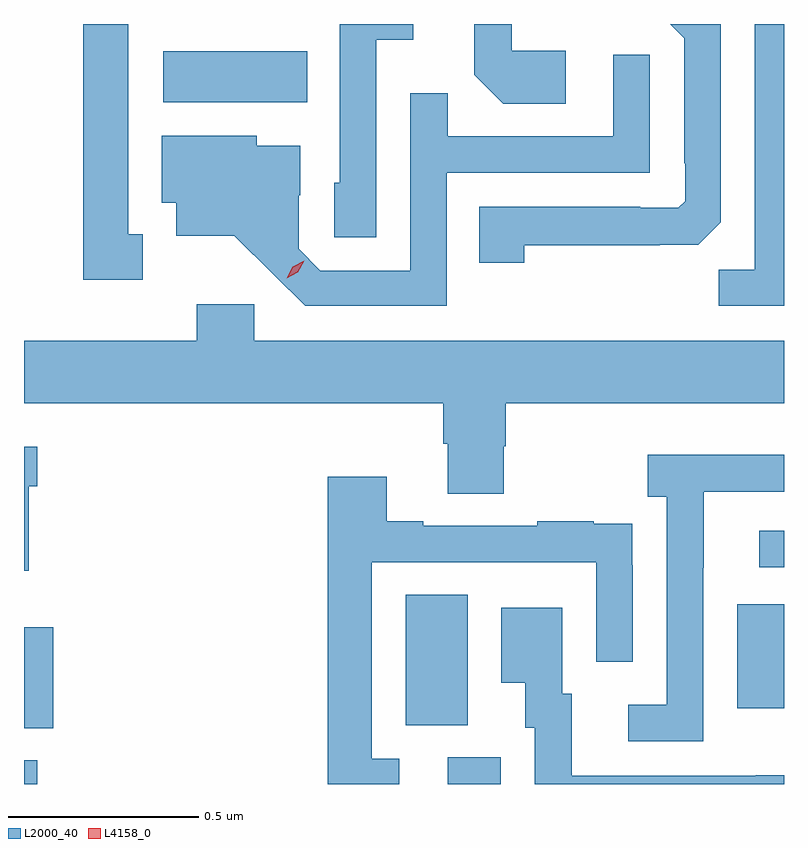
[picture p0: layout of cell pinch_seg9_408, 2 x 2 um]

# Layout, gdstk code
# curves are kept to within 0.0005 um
import gdstk
lib = gdstk.Library(unit=1e-6, precision=1e-09)
def R(c, l, rs):  # rectangles x0, y0, x1, y1
    for r in rs: c.add(gdstk.rectangle(r[:2], r[2:], *l))
def P(c, l, *ps):  # polygons
    for p in ps: c.add(gdstk.Polygon(p, *l))
L2000_40 = (2000, 40)
L4158_0 = (4158, 0)

pinch_seg9_408 = lib.new_cell('pinch_seg9_408')
R(pinch_seg9_408, L2000_40, [(322.158,1232.714,322.193,1232.776), (323.273,1232.714,323.413,1232.784), (322.158,1232.861,322.235,1233.127), (323.162,1232.869,323.326,1233.212), (324.035,1232.913,324.158,1233.187), (324.093,1233.285,324.158,1233.381), (322.524,1234.508,322.904,1234.642)])
P(pinch_seg9_408, L2000_40, [(324.158,1234.714),(324.081,1234.714),(324.081,1234.067),(323.986,1234.067),(323.986,1233.972),(324.158,1233.972)],
  [(323.085,1234.673),(323.182,1234.673),(323.182,1234.714),(322.989,1234.714),(322.989,1234.296),(322.974,1234.296),(322.974,1234.153),(323.085,1234.153)],
  [(323.475,1234.132),(323.831,1234.132),(323.831,1234.133),(323.932,1234.133),(323.991,1234.192),(323.991,1234.714),(323.858,1234.714),(323.895,1234.677),(323.895,1234.348),(323.898,1234.348),(323.898,1234.248),(323.88,1234.23),(323.78,1234.23),(323.78,1234.233),(323.356,1234.233),(323.356,1234.086),(323.475,1234.086)],
  [(322.471,1234.161),(322.432,1234.161),(322.432,1234.714),(322.314,1234.714),(322.314,1234.041),(322.471,1234.041)],
  [(323.584,1234.644),(323.442,1234.644),(323.442,1234.714),(323.343,1234.714),(323.343,1234.58),(323.419,1234.504),(323.584,1234.504)],
  [(323.271,1234.323),(323.805,1234.323),(323.805,1234.633),(323.709,1234.633),(323.709,1234.419),(323.273,1234.419),(323.273,1234.532),(323.175,1234.532),(323.175,1234.065),(322.938,1234.065),(322.881,1234.122),(322.881,1234.264),(322.885,1234.264),(322.885,1234.393),(322.77,1234.393),(322.77,1234.42),(322.52,1234.42),(322.52,1234.244),(322.559,1234.244),(322.559,1234.157),(322.711,1234.157),(322.898,1233.972),(323.271,1233.972)],
  [(323.421,1233.603),(323.426,1233.603),(323.426,1233.716),(324.158,1233.716),(324.158,1233.88),(322.764,1233.88),(322.764,1233.976),(322.613,1233.976),(322.613,1233.88),(322.158,1233.88),(322.158,1233.716),(323.261,1233.716),(323.261,1233.61),(323.273,1233.61),(323.273,1233.478),(323.421,1233.478)],
  [(322.171,1233.497),(322.193,1233.497),(322.193,1233.601),(322.158,1233.601),(322.158,1233.275),(322.171,1233.275)],
  [(323.946,1233.283),(323.947,1233.283),(323.947,1233.483),(324.158,1233.483),(324.158,1233.58),(323.799,1233.58),(323.799,1233.47),(323.85,1233.47),(323.85,1232.922),(323.748,1232.922),(323.748,1232.826),(323.946,1232.826)],
  [(323.146,1232.781),(323.073,1232.781),(323.073,1233.297),(323.664,1233.297),(323.664,1233.036),(323.76,1233.036),(323.76,1233.29),(323.759,1233.29),(323.759,1233.399),(323.657,1233.399),(323.657,1233.406),(323.509,1233.406),(323.509,1233.393),(323.209,1233.393),(323.209,1233.406),(323.113,1233.406),(323.113,1233.523),(322.957,1233.523),(322.957,1232.714),(323.146,1232.714)],
  [(324.158,1232.737),(324.083,1232.737),(324.083,1232.736),(323.599,1232.736),(323.599,1232.952),(323.575,1232.952),(323.575,1233.178),(323.414,1233.178),(323.414,1232.981),(323.477,1232.981),(323.477,1232.862),(323.502,1232.862),(323.502,1232.714),(324.158,1232.714)])
P(pinch_seg9_408, L4158_0, [(322.849,1234.045),(322.849,1234.045),(322.865,1234.075),(322.895,1234.091),(322.896,1234.091),(322.896,1234.091),(322.879,1234.061),(322.849,1234.045)])

lib.write_gds('pinch_seg9_408.gds')
